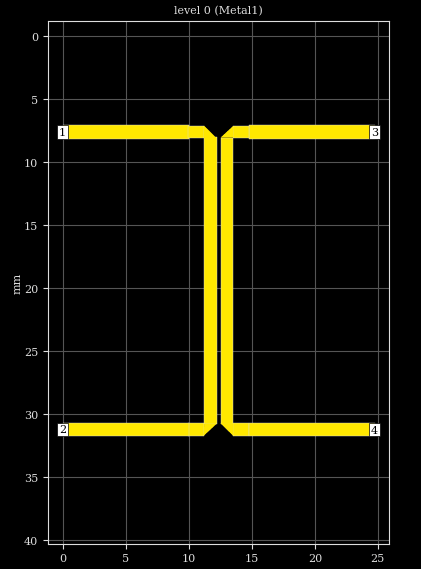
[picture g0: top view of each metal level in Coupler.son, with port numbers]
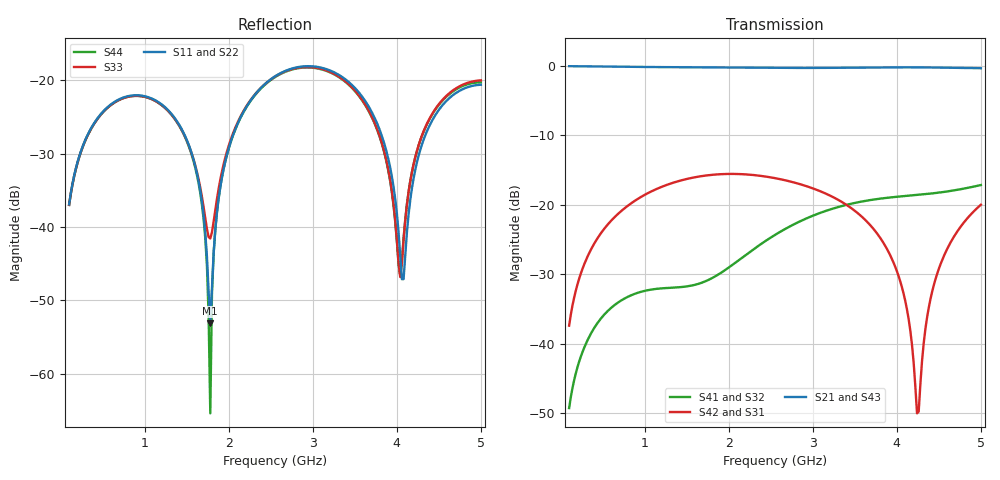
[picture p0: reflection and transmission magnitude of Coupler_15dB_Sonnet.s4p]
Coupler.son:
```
FTYP SONPROJ 19 ! Sonnet Project File
VER 18.53
HEADER
LIC SL685a1842
DAT 06/26/2025 05:57:32
BUILT_BY_CREATED xgeom 18.53-Lite 06/25/2025 21:43:06
BUILT_BY_SAVED sonnet 18.53-Lite
MDATE 06/26/2025 05:57:32
HDATE 06/26/2025 05:57:32
END HEADER
DIM
ANG DEG
CAP PF
CON /OH
FREQ GHZ
IND NH
LNG MM
RES OH
END DIM
CONTROL
VARSWP
OPTIONS  -d
SPEED 0
CACHE_ABS 2
Q_ACC N
END CONTROL
GEO
TMET "Lossless" 0 SUP 0 0 0 0
BMET "Lossless" 0 SUP 0 0 0 0
MET "Copper" 1 NOR 58000000 0.5 32 
BOX 1 24.7197 39.1478 194 308 20 0
      10 1 1 0 0 0 0 "Air"
      0.508 3.55 1 0.0029 0 0 0 "Rogers RO4003C"
TECHLAY METAL Metal1 <UNSPECIFIED> -2 -65534 
0 0 0 N 104 1 1 100 100 0 0 0 Y
END
END
VALVAR Lfeed LNG 10 "Dim. Param."
VALVAR W0 LNG 1.08 "Dim. Param."
VALVAR Ltrans LNG 1.27 "Dim. Param."
VALVAR Lcoupled LNG 22.75 "Dim. Param."
VALVAR Wcoupled LNG 1 "Dim. Param. Wcoupled"
VALVAR W0_1 LNG 1.080008 "Dim. Param. W0_1"
VALVAR W0_2 LNG 1.08 "Dim. Param. W0_2"
DIM STD XDIR 1
POS 0.6514689028 -3.718640466
NOM 0.3
REF1 POLY 87 1
1
REF2 POLY 88 1
2
END
LORGN 0 39.1478 U 
POR1 BOX
POLY 26 1
3
1 50 0 0 0 -0.03068341106 7.614147319 
POR1 BOX
POLY 80 1
3
2 50 0 0 0 -0.03068341106 31.23614732 
POR1 BOX
POLY 89 1
3
3 50 0 0 0 24.74267163 7.637847863 
POR1 BOX
POLY 94 1
3
4 50 0 0 0 24.74267163 31.25984786 
NUM 14
0 5 0 N 26 1 1 100 100 0 0 0 Y
TLAYNAM Metal1 INH
-0.03068341106 7.074147319
9.969316589 7.074147319
9.969316589 8.154147319
-0.03068341106 8.154147319
-0.03068341106 7.074147319
END
0 5 0 N 54 1 1 100 100 0 0 0 Y
TLAYNAM Metal1 INH
9.924000461 7.114147319
11.19400046 7.114147319
11.19400046 8.114147319
9.924000461 8.114147319
9.924000461 7.114147319
END
0 5 0 N 69 1 1 100 100 0 0 0 Y
TLAYNAM Metal1 INH
11.20200046 8.05014732
12.20200046 8.05014732
12.20200046 30.80014732
11.20200046 30.80014732
11.20200046 8.05014732
END
0 5 0 N 79 1 1 100 100 0 0 0 Y
TLAYNAM Metal1 INH
9.924000461 30.73614732
11.19400046 30.73614732
11.19400046 31.73614732
9.924000461 31.73614732
9.924000461 30.73614732
END
0 5 0 N 80 1 1 100 100 0 0 0 Y
TLAYNAM Metal1 INH
-0.03068341106 30.69614732
9.969316589 30.69614732
9.969316589 31.77614732
-0.03068341106 31.77614732
-0.03068341106 30.69614732
END
0 4 0 N 86 1 1 100 100 0 0 0 Y
TLAYNAM Metal1 INH
11.19400046 31.73614732
12.20200046 30.80014732
11.20200046 30.80014732
11.19400046 31.73614732
END
0 4 0 N 87 1 1 100 100 0 0 0 Y
TLAYNAM Metal1 INH
11.19400046 8.114147319
12.21000046 8.122147319
11.19400046 7.114147319
11.19400046 8.114147319
END
0 5 0 N 88 1 1 100 100 0 0 0 Y
TLAYNAM Metal1 INH
13.51000046 30.82384786
12.51000046 30.82384786
12.51000046 8.073847861
13.51000046 8.073847861
13.51000046 30.82384786
END
0 5 0 N 89 1 1 100 100 0 0 0 Y
TLAYNAM Metal1 INH
24.74267163 8.177847863
14.74267163 8.177847863
14.74267163 7.097847863
24.74267163 7.097847863
24.74267163 8.177847863
END
0 5 0 N 90 1 1 100 100 0 0 0 Y
TLAYNAM Metal1 INH
14.78800046 31.75984786
13.51800046 31.75984786
13.51800046 30.75984786
14.78800046 30.75984786
14.78800046 31.75984786
END
0 5 0 N 91 1 1 100 100 0 0 0 Y
TLAYNAM Metal1 INH
14.78800046 8.137847863
13.51800046 8.137847863
13.51800046 7.137847863
14.78800046 7.137847863
14.78800046 8.137847863
END
0 4 0 N 92 1 1 100 100 0 0 0 Y
TLAYNAM Metal1 INH
13.51800046 7.137848863
12.51000146 8.073838863
13.50999946 8.073838863
13.51800046 7.137848863
END
0 4 0 N 93 1 1 100 100 0 0 0 Y
TLAYNAM Metal1 INH
13.51800046 30.75984886
12.50200046 30.75184786
13.51800046 31.75984686
13.51800046 30.75984886
END
0 5 0 N 94 1 1 100 100 0 0 0 Y
TLAYNAM Metal1 INH
24.74267163 31.79985186
14.74267163 31.79985186
14.74267163 30.71984386
24.74267163 30.71984386
24.74267163 31.79985186
END
END GEO
OPT
MAX 100
END OPT
VARSWP
ENABLED Y
FREQ Y AY ABS_ENTRY 0.1 5.0 -1 300 
VAR Lfeed N 2.286 2.286 UNDEF
VAR W0 N 0.508 0.508 UNDEF
VAR Wcoupled N 0.508 0.508 UNDEF
VAR Ltrans N 1.27 1.27 UNDEF
VAR Lcoupled N 22.75 22.75 UNDEF
VAR W0_1 N 1.080008 1.080008 UNDEF
VAR W0_1 N 1.08 1.08 UNDEF
VAR W0_2 N 1.08 1.08 UNDEF
END
END VARSWP
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```
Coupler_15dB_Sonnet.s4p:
! Sonnet Data File
! From: sonnet Version : 18.53-Lite
! From Emgraph Data:
! Data File Written: 06/26/2025 06:00:17
!< HDATE 06/26/2025 05:57:32
!< MDATE 06/26/2025 05:57:32
!< PARAMS
!< Lfeed = 10.0
!< W0 = 1.08
!< Ltrans = 1.27
!< Lcoupled = 22.75
!< Wcoupled = 1.0
!< W0_1 = 1.080008
!< W0_2 = 1.08
!< END PARAMS
# GHZ S MA R 50.00000
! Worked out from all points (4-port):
!   246 points, 100 MHz to 5 GHz, reference 50 ohm
!   strongest paths, dB at 100 MHz, 1.32 GHz, 2.56 GHz, 3.78 GHz, 5 GHz:
!     S21: 0.0, -0.2, -0.3, -0.2, -0.3
!     S43: 0.0, -0.2, -0.3, -0.2, -0.3
!     S42: -37.4, -16.9, -16.2, -24.4, -20.0
!     S31: -37.4, -16.9, -16.2, -24.4, -20.0
!     S41: -49.3, -31.9, -24.3, -19.1, -17.1
!     S32: -49.3, -32.1, -24.4, -19.1, -17.2
!   lowest |S11| = -53.1 dB at 1.78 GHz (marker M1), VSWR 1.00, Z = 49.8 - j0.0535 ohm
!   |S11| at or under -10 dB: start of sweep to end of sweep
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0.1  0.01426 78.3  0.9989 -9.3  0.01349 80.6  0.003436 -102.0
     0.9989 -9.3  0.01426 78.3  0.003436 -102.1  0.01349 80.6
     0.01349 80.6  0.003436 -102.1  0.01415 78.2  0.9989 -9.3
     0.003436 -102.0  0.01349 80.6  0.9989 -9.3  0.01415 78.4
1.78  0.002201 -165.9  0.9794 -162.8  0.1641 -72.7  0.02924 107.9
      0.9794 -162.8  0.006207 -164.7  0.02821 107.2  0.1642 -72.8
      0.1641 -72.7  0.02821 107.2  0.008355 -167.1  0.9794 -162.8
      0.02924 107.9  0.1642 -72.8  0.9794 -162.8  0.0005375 115.8
5  0.09321 -1.4  0.9655 -98.1  0.09963 179.0  0.139 176.6
   0.9655 -98.1  0.09486 3.4  0.1375 175.3  0.1002 179.1
   0.09963 179.0  0.1375 175.3  0.09985 5.2  0.9651 -98.2
   0.139 176.6  0.1002 179.1  0.9651 -98.2  0.09684 -4.2
